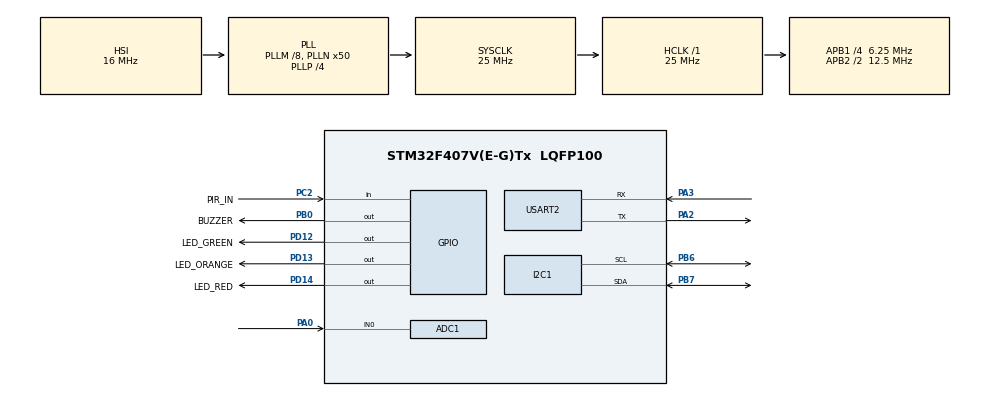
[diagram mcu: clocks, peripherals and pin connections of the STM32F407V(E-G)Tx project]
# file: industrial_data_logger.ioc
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ADC1.Channel-0\#ChannelRegularConversion=ADC_CHANNEL_0
ADC1.NbrOfConversionFlag=1
ADC1.Rank-0\#ChannelRegularConversion=1
ADC1.SamplingTime-0\#ChannelRegularConversion=ADC_SAMPLETIME_3CYCLES
ADC1.master=1
FREERTOS.Tasks01=defaultTask,24,128,StartDefaultTask,Default,NULL,Dynamic,NULL,NULL
FREERTOS.configUSE_NEWLIB_REENTRANT=1
Mcu.Family=STM32F4
Mcu.Name=STM32F407V(E-G)Tx
Mcu.Package=LQFP100
NVIC.PriorityGroup=NVIC_PRIORITYGROUP_4
NVIC.TIM6_DAC_IRQn=true\:15\:0\:false\:false\:true\:false\:false\:true\:true
NVIC.TimeBase=TIM6_DAC_IRQn
NVIC.TimeBaseIP=TIM6
PA0-WKUP.Signal=ADCx_IN0
PA13.Mode=Serial_Wire
PA13.Signal=SYS_JTMS-SWDIO
PA14.Mode=Serial_Wire
PA14.Signal=SYS_JTCK-SWCLK
PA2.Mode=Asynchronous
PA2.Signal=USART2_TX
PA3.Mode=Asynchronous
PA3.Signal=USART2_RX
PB0.GPIO_Label=BUZZER
PB0.Signal=GPIO_Output
PB6.Mode=I2C
PB6.Signal=I2C1_SCL
PB7.Mode=I2C
PB7.Signal=I2C1_SDA
PC14-OSC32_IN.Mode=LSE-External-Oscillator
PC14-OSC32_IN.Signal=RCC_OSC32_IN
PC15-OSC32_OUT.Mode=LSE-External-Oscillator
PC15-OSC32_OUT.Signal=RCC_OSC32_OUT
PC2.GPIO_Label=PIR_IN
PC2.Signal=GPIO_Input
PD12.GPIO_Label=LED_GREEN
PD12.Signal=GPIO_Output
PD13.GPIO_Label=LED_ORANGE
PD13.Signal=GPIO_Output
PD14.GPIO_Label=LED_RED
PD14.Signal=GPIO_Output
PH0-OSC_IN.Mode=HSE-External-Oscillator
PH0-OSC_IN.Signal=RCC_OSC_IN
PH1-OSC_OUT.Mode=HSE-External-Oscillator
PH1-OSC_OUT.Signal=RCC_OSC_OUT
ProjectManager.HeapSize=0x200
ProjectManager.StackSize=0x400
ProjectManager.TargetToolchain=STM32CubeIDE
RCC.48MHZClocksFreq_Value=14285714.285714285
RCC.AHBFreq_Value=25000000
RCC.APB1CLKDivider=RCC_HCLK_DIV4
RCC.APB1Freq_Value=6250000
RCC.APB1TimFreq_Value=12500000
RCC.APB2CLKDivider=RCC_HCLK_DIV2
RCC.APB2Freq_Value=12500000
RCC.APB2TimFreq_Value=25000000
RCC.CortexFreq_Value=25000000
RCC.HCLKFreq_Value=25000000
RCC.HSE_VALUE=8000000
RCC.HSI_VALUE=16000000
RCC.PLLM=8
RCC.PLLN=50
RCC.PLLP=RCC_PLLP_DIV4
RCC.PLLQ=7
RCC.SYSCLKFreq_VALUE=25000000
RCC.SYSCLKSource=RCC_SYSCLKSOURCE_PLLCLK
RCC.VCOOutputFreq_Value=100000000
SH.ADCx_IN0.0=ADC1_IN0,IN0
USART2.VirtualMode=VM_ASYNC
VP_FREERTOS_VS_CMSIS_V2.Mode=CMSIS_V2
VP_SYS_VS_tim6.Mode=TIM6
board=STM32F407G-DISC1

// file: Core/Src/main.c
/* USER CODE BEGIN Header */
/**
  ******************************************************************************
  * @file           : main.c
  * @brief          : Main program body
  ******************************************************************************
  * @attention
  *
  * Copyright (c) 2026 STMicroelectronics.
  * All rights reserved.
  *
  * This software is licensed under terms that can be found in the LICENSE file
  * in the root directory of this software component.
  * If no LICENSE file comes with this software, it is provided AS-IS.
  *
  ******************************************************************************
  */
/* USER CODE END Header */
#include "main.h"
#include "cmsis_os.h"

/* USER CODE BEGIN Includes */
#include "shared_data.h"
#include "pir_sensor.h"
#include "bme280_sensor.h"
#include "mq135_sensor.h"
#include "ina219_sensor.h"
#include "uart_task.h"
#include <stdio.h>

/* USER CODE END Includes */

ADC_HandleTypeDef hadc1;

I2C_HandleTypeDef hi2c1;

UART_HandleTypeDef huart2;

/* Definitions for defaultTask */
osThreadId_t defaultTaskHandle;
const osThreadAttr_t defaultTask_attributes = {
  .name = "defaultTask",
  .stack_size = 128 * 4,
  .priority = (osPriority_t) osPriorityNormal,
};
///* USER CODE BEGIN PV */
/* ── Shared resources — defined HERE, extern in shared_data.h */
SystemData_t     sysData         = {0};
osMutexId_t      dataMutexHandle  = NULL;
osMutexId_t uartMutexHandle = NULL;
osEventFlagsId_t alertFlagsHandle = NULL;

/* USER CODE END PV */

void SystemClock_Config(void);
static void MX_GPIO_Init(void);
static void MX_I2C1_Init(void);
static void MX_USART2_UART_Init(void);
static void MX_ADC1_Init(void);
//void StartDefaultTask(void	 *argument);

/* USER CODE BEGIN PFP */
void UART_Send(char *msg)
{
    osMutexAcquire(uartMutexHandle, osWaitForever);
    HAL_UART_Transmit(&huart2, (uint8_t*)msg, strlen(msg), HAL_MAX_DELAY);
    osMutexRelease(uartMutexHandle);
}

/* USER CODE END PFP */

/* USER CODE BEGIN 0 */
float Voltage = 0.0f;
float Current = 0.0f;
float Power = 0.0f;
/* USER CODE END PV */

/* USER CODE BEGIN 0 */

/* printf redirect to UART2 */
int _write(int file, char *ptr, int len)
{
//    if (uartMutexHandle != NULL)
//    {
//        osMutexAcquire(uartMutexHandle, osWaitForever);
//    }
//    HAL_UART_Transmit(&huart2, (uint8_t*)ptr, len, 100);
//    if (uartMutexHandle != NULL)
//    {
//        osMutexRelease(uartMutexHandle);
//    }
    return len;
}

/* ═══════════════════════════════════════════════════════════
   Alert_Task
   Highest priority — wakes INSTANTLY on any event flag
   Handles PIR motion alerts
═══════════════════════════════════════════════════════════ */

void Alert_Task(void *argument)
{
    printf("[ALERT] Task started — waiting for events\r\n\n");

    for (;;)
    {
        uint32_t flags = osEventFlagsWait(
            alertFlagsHandle,
            EVT_MOTION_DETECTED |
            EVT_ZONE_CLEARED |
            EVT_FIRE_ALERT |
            EVT_TEMP_ALERT |
            EVT_HUMIDITY_ALERT |
            EVT_GAS_ALERT |
            EVT_OVERCURRENT,
            osFlagsWaitAny,
            osWaitForever);

        osMutexAcquire(dataMutexHandle, osWaitForever);
        SystemData_t snap = sysData;
        osMutexRelease(dataMutexHandle);

        if (flags & EVT_MOTION_DETECTED)
        {
            printf("[ALERT] Motion event #%lu\r\n",
                   snap.pir.event_count);

            HAL_GPIO_WritePin(BUZZER_GPIO_Port,
                              BUZZER_Pin,
                              GPIO_PIN_SET);

            osDelay(100);

            HAL_GPIO_WritePin(BUZZER_GPIO_Port,
                              BUZZER_Pin,
                              GPIO_PIN_RESET);
        }

        if (flags & EVT_GAS_ALERT)
        {
            char msg[128];

            sprintf(msg,
                    "[ALERT] GAS DETECTED! PPM = %.1f\r\n",
                    snap.mq135.ppm);

            UART_Send(msg);

            for (int i = 0; i < 3; i++)
            {
                HAL_GPIO_WritePin(BUZZER_GPIO_Port,
                                  BUZZER_Pin,
                                  GPIO_PIN_SET);

                osDelay(300);

                HAL_GPIO_WritePin(BUZZER_GPIO_Port,
                                  BUZZER_Pin,
                                  GPIO_PIN_RESET);

                osDelay(200);
            }
        }

        if (flags & EVT_ZONE_CLEARED)
        {
            printf("[ALERT] Zone secure\r\n");
        }
    }
}

/* USER CODE END 0 */

int main(void)
{

  /* MCU Configuration--------------------------------------------------------*/

  /* Reset of all peripherals, Initializes the Flash interface and the Systick. */
  HAL_Init();

  /* Configure the system clock */
  SystemClock_Config();

  /* Initialize all configured peripherals */
  MX_GPIO_Init();
  MX_I2C1_Init();
  MX_USART2_UART_Init();
  MX_ADC1_Init();
  /* USER CODE BEGIN 2 */

  /* Test buzzer */
          HAL_GPIO_WritePin(BUZZER_GPIO_Port, BUZZER_Pin, GPIO_PIN_SET);
          HAL_Delay(1000);
          HAL_GPIO_WritePin(BUZZER_GPIO_Port, BUZZER_Pin, GPIO_PIN_RESET);

          printf("INFO: Buzzer test completed\r\n");

  printf("\r\n");
  printf("INFO: ================================================\r\n");
  printf("INFO: INDUSTRIAL SERVER ROOM MONITOR\r\n");
  printf("INFO: STM32F407 + FreeRTOS\r\n");
  printf("INFO: Sensors: PIR + BME280 + MQ135 + INA219\r\n");
  printf("INFO: ================================================\r\n");

      /* Init sensors before scheduler starts */
         PIR_Init();
       //  BME280_ReadCalibration();
         BME280_Init();

         MQ135_Init();

      //Initialize the INA219 Sensor
         INA219_Init();

         /* FreeRTOS kernel init */
         osKernelInitialize();

         /* Create shared resources */
            dataMutexHandle  = osMutexNew(NULL);
            uartMutexHandle = osMutexNew(NULL);
               if (uartMutexHandle == NULL)
               {
                   printf("[MAIN] FATAL: UART mutex creation failed\r\n");
                   Error_Handler();
               }
            alertFlagsHandle = osEventFlagsNew(NULL);

            if (dataMutexHandle == NULL || alertFlagsHandle == NULL)
            {
                printf("[MAIN] FATAL: RTOS object creation failed\r\n");
                Error_Handler();
            }

            /*
                 * Task Priority Rationale:
                 *
                 * osPriorityRealtime  → Alert_Task
                 *   Fire or gas = immediate response needed
                 *   Must preempt everything instantly
                 *
                 * osPriorityHigh      → PIR_Task
                 *   Security detection is time-sensitive
                 *   50ms poll cycle must not be interrupted
                 *   Missing a rising edge = missed intruder
                 *
                 * osPriorityAboveNormal → BME280_Task
                 *   Reads every 2s — can tolerate brief delays
                 *   Float math needs larger stack (1024 bytes)
                 *
                 * Stack sizes chosen conservatively:
                 *   512  bytes for simple GPIO tasks
                 *   1024 bytes for tasks using float + printf
                 *   F407 has 192KB RAM — plenty of headroom
                 */

//            osThreadNew(Alert_Task, NULL,
//                   &(osThreadAttr_t){
//                       .name       = "Alert",
//                       .priority   = osPriorityRealtime,
//                       .stack_size = 512
//                   });

               osThreadNew(PIR_Task, NULL,
                   &(osThreadAttr_t){
                       .name       = "PIR",
                       .priority   = osPriorityHigh,
                       .stack_size = 1024
                   });

               osThreadNew(BME280_Task, NULL, &(osThreadAttr_t)
               {
            	   .name = "BME",
            	   .priority = osPriorityAboveNormal,
				   .stack_size = 1536
               });

               osThreadNew(MQ135_Task, NULL, &(osThreadAttr_t)
               {
            	   .name = "MQ135",
                   .priority = osPriorityNormal,
              	   .stack_size = 1536
                });

               osThreadNew(INA219_Task, NULL, &(osThreadAttr_t)
               {
            	   .name = "INA219",
            	   .priority = osPriorityNormal,
				   .stack_size = 1536
               });

               osThreadNew(UART_Task, NULL, &(osThreadAttr_t)
               {
                   .name = "UART",
                   .priority = osPriorityBelowNormal,
                   .stack_size = 1536
               });

               printf("INFO: Tasks created\r\n");
               printf("INFO: Starting FreeRTOS scheduler...\r\n");
               /* Hand control to FreeRTOS — never returns */
               osKernelStart();

               /* Never reached */
                  while (1) {}
//  /* USER CODE END 2 */
//
//  /* Init scheduler */
//  osKernelInitialize();
//
//  /* USER CODE BEGIN RTOS_MUTEX */
////  /* add mutexes, ... */
//  /* USER CODE END RTOS_MUTEX */
//
//  /* USER CODE BEGIN RTOS_SEMAPHORES */
////  /* add semaphores, ... */
//  /* USER CODE END RTOS_SEMAPHORES */
//
//  /* USER CODE BEGIN RTOS_TIMERS */
////  /* start timers, add new ones, ... */
//  /* USER CODE END RTOS_TIMERS */
//
//  /* USER CODE BEGIN RTOS_QUEUES */
////  /* add queues, ... */
//  /* USER CODE END RTOS_QUEUES */
//
//  /* Create the thread(s) */
//  /* creation of defaultTask */
//  defaultTaskHandle = osThreadNew(StartDefaultTask, NULL, &defaultTask_attributes);
//
//  /* USER CODE BEGIN RTOS_THREADS */
////  /* add threads, ... */
//  /* USER CODE END RTOS_THREADS */
//
//  /* USER CODE BEGIN RTOS_EVENTS */
////  /* add events, ... */
//  /* USER CODE END RTOS_EVENTS */
//
//  /* Start scheduler */
//  osKernelStart();
//
//  /* We should never get here as control is now taken by the scheduler */
//
//  /* Infinite loop */
//  /* USER CODE BEGIN WHILE */
////  while (1)
////  {
//    /* USER CODE END WHILE */
//
//    /* USER CODE BEGIN 3 */
////  }
//  /* USER CODE END 3 */
}

void SystemClock_Config(void)
{
  RCC_OscInitTypeDef RCC_OscInitStruct = {0};
  RCC_ClkInitTypeDef RCC_ClkInitStruct = {0};

  /** Configure the main internal regulator output voltage
  */
  __HAL_RCC_PWR_CLK_ENABLE();
  __HAL_PWR_VOLTAGESCALING_CONFIG(PWR_REGULATOR_VOLTAGE_SCALE1);

  /** Initializes the RCC Oscillators according to the specified parameters
  * in the RCC_OscInitTypeDef structure.
  */
  RCC_OscInitStruct.OscillatorType = RCC_OSCILLATORTYPE_HSI;
  RCC_OscInitStruct.HSIState = RCC_HSI_ON;
  RCC_OscInitStruct.HSICalibrationValue = RCC_HSICALIBRATION_DEFAULT;
  RCC_OscInitStruct.PLL.PLLState = RCC_PLL_ON;
  RCC_OscInitStruct.PLL.PLLSource = RCC_PLLSOURCE_HSI;
  RCC_OscInitStruct.PLL.PLLM = 8;
  RCC_OscInitStruct.PLL.PLLN = 50;
  RCC_OscInitStruct.PLL.PLLP = RCC_PLLP_DIV4;
  RCC_OscInitStruct.PLL.PLLQ = 7;
  if (HAL_RCC_OscConfig(&RCC_OscInitStruct) != HAL_OK)
  {
    Error_Handler();
  }

  /** Initializes the CPU, AHB and APB buses clocks
  */
  RCC_ClkInitStruct.ClockType = RCC_CLOCKTYPE_HCLK|RCC_CLOCKTYPE_SYSCLK
                              |RCC_CLOCKTYPE_PCLK1|RCC_CLOCKTYPE_PCLK2;
  RCC_ClkInitStruct.SYSCLKSource = RCC_SYSCLKSOURCE_PLLCLK;
  RCC_ClkInitStruct.AHBCLKDivider = RCC_SYSCLK_DIV1;
  RCC_ClkInitStruct.APB1CLKDivider = RCC_HCLK_DIV4;
  RCC_ClkInitStruct.APB2CLKDivider = RCC_HCLK_DIV2;

  if (HAL_RCC_ClockConfig(&RCC_ClkInitStruct, FLASH_LATENCY_0) != HAL_OK)
  {
    Error_Handler();
  }
}

static void MX_ADC1_Init(void)
{

  ADC_ChannelConfTypeDef sConfig = {0};

  /** Configure the global features of the ADC (Clock, Resolution, Data Alignment and number of conversion)
  */
  hadc1.Instance = ADC1;
  hadc1.Init.ClockPrescaler = ADC_CLOCK_SYNC_PCLK_DIV2;
  hadc1.Init.Resolution = ADC_RESOLUTION_12B;
  hadc1.Init.ScanConvMode = DISABLE;
  hadc1.Init.ContinuousConvMode = DISABLE;
  hadc1.Init.DiscontinuousConvMode = DISABLE;
  hadc1.Init.ExternalTrigConvEdge = ADC_EXTERNALTRIGCONVEDGE_NONE;
  hadc1.Init.ExternalTrigConv = ADC_SOFTWARE_START;
  hadc1.Init.DataAlign = ADC_DATAALIGN_RIGHT;
  hadc1.Init.NbrOfConversion = 1;
  hadc1.Init.DMAContinuousRequests = DISABLE;
  hadc1.Init.EOCSelection = ADC_EOC_SINGLE_CONV;
  if (HAL_ADC_Init(&hadc1) != HAL_OK)
  {
    Error_Handler();
  }

  /** Configure for the selected ADC regular channel its corresponding rank in the sequencer and its sample time.
  */
  sConfig.Channel = ADC_CHANNEL_0;
  sConfig.Rank = 1;
  sConfig.SamplingTime = ADC_SAMPLETIME_3CYCLES;
  if (HAL_ADC_ConfigChannel(&hadc1, &sConfig) != HAL_OK)
  {
    Error_Handler();
  }

}

static void MX_I2C1_Init(void)
{

  hi2c1.Instance = I2C1;
  hi2c1.Init.ClockSpeed = 100000;
  hi2c1.Init.DutyCycle = I2C_DUTYCYCLE_2;
  hi2c1.Init.OwnAddress1 = 0;
  hi2c1.Init.AddressingMode = I2C_ADDRESSINGMODE_7BIT;
  hi2c1.Init.DualAddressMode = I2C_DUALADDRESS_DISABLE;
  hi2c1.Init.OwnAddress2 = 0;
  hi2c1.Init.GeneralCallMode = I2C_GENERALCALL_DISABLE;
  hi2c1.Init.NoStretchMode = I2C_NOSTRETCH_DISABLE;
  if (HAL_I2C_Init(&hi2c1) != HAL_OK)
  {
    Error_Handler();
  }

}

static void MX_USART2_UART_Init(void)
{

  huart2.Instance = USART2;
  huart2.Init.BaudRate = 115200;
  huart2.Init.WordLength = UART_WORDLENGTH_8B;
  huart2.Init.StopBits = UART_STOPBITS_1;
  huart2.Init.Parity = UART_PARITY_NONE;
  huart2.Init.Mode = UART_MODE_TX_RX;
  huart2.Init.HwFlowCtl = UART_HWCONTROL_NONE;
  huart2.Init.OverSampling = UART_OVERSAMPLING_16;
  if (HAL_UART_Init(&huart2) != HAL_OK)
  {
    Error_Handler();
  }

}

static void MX_GPIO_Init(void)
{
  GPIO_InitTypeDef GPIO_InitStruct = {0};

  /* GPIO Ports Clock Enable */
  __HAL_RCC_GPIOC_CLK_ENABLE();
  __HAL_RCC_GPIOH_CLK_ENABLE();
  __HAL_RCC_GPIOA_CLK_ENABLE();
  __HAL_RCC_GPIOB_CLK_ENABLE();
  __HAL_RCC_GPIOD_CLK_ENABLE();

  /*Configure GPIO pin Output Level */
  HAL_GPIO_WritePin(BUZZER_GPIO_Port, BUZZER_Pin, GPIO_PIN_RESET);

  /*Configure GPIO pin Output Level */
  HAL_GPIO_WritePin(GPIOD, LED_GREEN_Pin|LED_ORANGE_Pin|LED_RED_Pin, GPIO_PIN_RESET);

  /*Configure GPIO pin : PIR_IN_Pin */
  GPIO_InitStruct.Pin = PIR_IN_Pin;
  GPIO_InitStruct.Mode = GPIO_MODE_INPUT;
  GPIO_InitStruct.Pull = GPIO_NOPULL;
  HAL_GPIO_Init(PIR_IN_GPIO_Port, &GPIO_InitStruct);

  /*Configure GPIO pin : BUZZER_Pin */
  GPIO_InitStruct.Pin = BUZZER_Pin;
  GPIO_InitStruct.Mode = GPIO_MODE_OUTPUT_PP;
  GPIO_InitStruct.Pull = GPIO_NOPULL;
  GPIO_InitStruct.Speed = GPIO_SPEED_FREQ_LOW;
  HAL_GPIO_Init(BUZZER_GPIO_Port, &GPIO_InitStruct);

  /*Configure GPIO pins : LED_GREEN_Pin LED_ORANGE_Pin LED_RED_Pin */
  GPIO_InitStruct.Pin = LED_GREEN_Pin|LED_ORANGE_Pin|LED_RED_Pin;
  GPIO_InitStruct.Mode = GPIO_MODE_OUTPUT_PP;
  GPIO_InitStruct.Pull = GPIO_NOPULL;
  GPIO_InitStruct.Speed = GPIO_SPEED_FREQ_LOW;
  HAL_GPIO_Init(GPIOD, &GPIO_InitStruct);

}

//void StartDefaultTask(void *argument)
//{
//  /* USER CODE BEGIN 5 */
//  /* Infinite loop */
//  for(;;)
//  {
//    osDelay(1);
//}
//  }

  /* USER CODE END 5 */

void HAL_TIM_PeriodElapsedCallback(TIM_HandleTypeDef *htim)
{
  if (htim->Instance == TIM6)
  {
    HAL_IncTick();
  }
}

void Error_Handler(void)
{
  /* USER CODE BEGIN Error_Handler_Debug */
  /* User can add his own implementation to report the HAL error return state */
  __disable_irq();
  while (1)
  {
	  HAL_GPIO_TogglePin(LED_RED_GPIO_Port, LED_RED_Pin);
	      for (volatile uint32_t i = 0; i < 1000000; i++);
  }
  /* USER CODE END Error_Handler_Debug */
}
